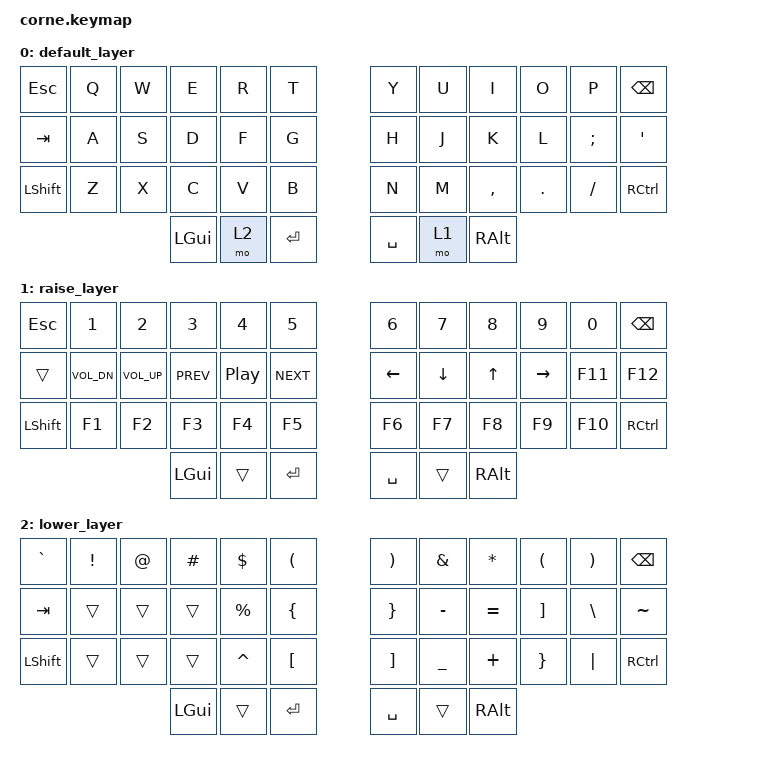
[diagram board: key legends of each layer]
#include <behaviors.dtsi>
#include <dt-bindings/zmk/keys.h>
#include <dt-bindings/zmk/bt.h>

/ {
    keymap {
        compatible = "zmk,keymap";

        default_layer {
            bindings = <
&kp ESC    &kp Q  &kp W  &kp E     &kp R  &kp T      &kp Y      &kp U  &kp I      &kp O    &kp P     &kp BSPC
&kp TAB    &kp A  &kp S  &kp D     &kp F  &kp G      &kp H      &kp J  &kp K      &kp L    &kp SEMI  &kp SQT
&kp LSHFT  &kp Z  &kp X  &kp C     &kp V  &kp B      &kp N      &kp M  &kp COMMA  &kp DOT  &kp FSLH  &kp RCTRL
                         &kp LGUI  &mo 2  &kp RET    &kp SPACE  &mo 1  &kp RALT
            >;
        };

        raise_layer {
            bindings = <
&kp ESC    &kp N1        &kp N2        &kp N3      &kp N4            &kp N5        &kp N6     &kp N7    &kp N8    &kp N9     &kp N0   &kp BSPC
&trans     &kp C_VOL_DN  &kp C_VOL_UP  &kp C_PREV  &kp C_PLAY_PAUSE  &kp C_NEXT    &kp LEFT   &kp DOWN  &kp UP    &kp RIGHT  &kp F11  &kp F12
&kp LSHFT  &kp F1        &kp F2        &kp F3      &kp F4            &kp F5        &kp F6     &kp F7    &kp F8    &kp F9     &kp F10  &kp RCTRL
                                       &kp LGUI    &trans            &kp RET       &kp SPACE  &trans    &kp RALT
            >;
        };

        lower_layer {
            bindings = <
&kp GRAVE  &kp EXCL  &kp AT  &kp HASH  &kp DLLR   &kp LPAR            &kp RPAR           &kp AMPS   &kp ASTRK  &kp LPAR  &kp RPAR  &kp BSPC
&kp TAB    &trans    &trans  &trans    &kp PRCNT  &kp LBRC            &kp RIGHT_BRACE    &kp MINUS  &kp EQUAL  &kp RBKT  &kp BSLH  &kp TILDE
&kp LSHFT  &trans    &trans  &trans    &kp CARET  &kp LEFT_BRACKET    &kp RIGHT_BRACKET  &kp UNDER  &kp PLUS   &kp RBRC  &kp PIPE  &kp RCTRL
                             &kp LGUI  &trans     &kp RET             &kp SPACE          &trans     &kp RALT
            >;
        };
    };
};
